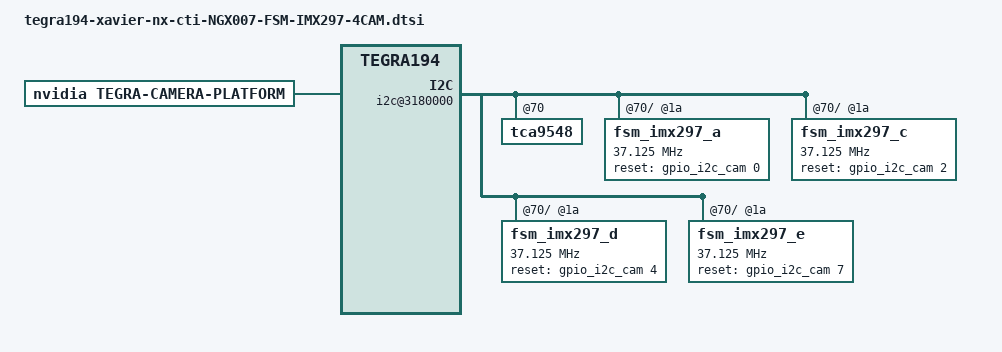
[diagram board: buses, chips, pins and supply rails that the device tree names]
/*
 * tegra194-camera-imx297.dtsi - imx297 sensor device tree
 *
 * Copyright (c) 2019. FRAMOS.  All rights reserved.
 *
 * This program is free software; you can redistribute it and/or modify
 * it under the terms of the GNU General Public License as published by
 * the Free Software Foundation; either version 2 of the License, or
 * (at your option) any later version.
 *
 * This program is distributed in the hope that it will be useful, but WITHOUT
 * ANY WARRANTY; without even the implied warranty of MERCHANTABILITY or
 * FITNESS FOR A PARTICULAR PURPOSE.  See the GNU General Public License for
 * more details.
 *
 * You should have received a copy of the GNU General Public License
 * along with this program.  If not, see <http://www.gnu.org/licenses/>.
 */

/* camera control gpio definitions */
#include "tegra194-cti-camera-fsm-imx297-4cam-1mux-1sensor-header.dtsi"
#include "tegra194-cti-fsm-imx297-modes-header.dtsi"
#include "tegra194-cti-camera-4cam-1mux-1sensor-base.dtsi"
#include "tegra194-xavier-nx-cti-NGX007-FSM-4CAM-base.dtsi"


/* camera control gpio definitions */
/ {
	tegra-camera-platform {
		compatible = "nvidia, tegra-camera-platform";

		/**
		* Physical settings to calculate max ISO BW
		*
		* num_csi_lanes = <>;
		* Total number of CSI lanes when all cameras are active
		*
		* max_lane_speed = <>;
		* Max lane speed in Kbit/s
		*
		* min_bits_per_pixel = <>;
		* Min bits per pixel
		*
		* vi_peak_byte_per_pixel = <>;
		* Max byte per pixel for the VI ISO case
		*
		* vi_bw_margin_pct = <>;
		* Vi bandwidth margin in percentage
		*
		* max_pixel_rate = <>;
		* Max pixel rate in Kpixel/s for the ISP ISO case
		*
		* isp_peak_byte_per_pixel = <>;
		* Max byte per pixel for the ISP ISO case
		*
		* isp_bw_margin_pct = <>;
		* Isp bandwidth margin in percentage
		*/
		TEGRA_CAM_PLAT_DATA

	};
};

/{
	i2c@3180000 {
		tca9548@70 {
			i2c@0 {
				fsm_imx297_a@1a {
					devnode = "video0";

					/* Define any required hw resources needed by driver */
				    /* ie. clocks, io pins, power sources */
                    clocks = <&bpmp_clks TEGRA194_CLK_EXTPERIPH1>,
						<&bpmp_clks TEGRA194_CLK_EXTPERIPH1>;
                    clock-names = "extperiph1", "pllp_grtba";
                    mclk = "extperiph1";
                    clock-frequency = <37125000>;
                    reset-gpios = <&gpio_i2c_cam 0 GPIO_ACTIVE_HIGH>;

				    CAM_DATA
					/delete-node/ mode2;
					/delete-node/ mode3;
					/delete-node/ mode4;
				};
			};
            
			i2c@1 {
				fsm_imx297_c@1a {
					devnode = "video2";

					/* Define any required hw resources needed by driver */
				    /* ie. clocks, io pins, power sources */
                    clocks = <&bpmp_clks TEGRA194_CLK_EXTPERIPH1>,
						<&bpmp_clks TEGRA194_CLK_EXTPERIPH1>;
                    clock-names = "extperiph1", "pllp_grtba";
                    mclk = "extperiph1";
                    clock-frequency = <37125000>;
                    reset-gpios = <&gpio_i2c_cam 2 GPIO_ACTIVE_HIGH>;

				    CAM_DATA
					/delete-node/ mode2;
					/delete-node/ mode3;
					/delete-node/ mode4;
				};
			};
			
			i2c@2 {
				fsm_imx297_d@1a {
					devnode = "video3";

					/* Define any required hw resources needed by driver */
				    /* ie. clocks, io pins, power sources */
                    clocks = <&bpmp_clks TEGRA194_CLK_EXTPERIPH1>,
						<&bpmp_clks TEGRA194_CLK_EXTPERIPH1>;
                    clock-names = "extperiph1", "pllp_grtba";
                    mclk = "extperiph1";
                    clock-frequency = <37125000>;
                    reset-gpios = <&gpio_i2c_cam 4 GPIO_ACTIVE_HIGH>;

				    CAM_DATA
					/delete-node/ mode2;
					/delete-node/ mode3;
					/delete-node/ mode4;
				};
			};
            
            i2c@3 {
				fsm_imx297_e@1a {
					devnode = "video4";
					
					/* Define any required hw resources needed by driver */
				    /* ie. clocks, io pins, power sources */
                    clocks = <&bpmp_clks TEGRA194_CLK_EXTPERIPH1>,
						<&bpmp_clks TEGRA194_CLK_EXTPERIPH1>;
                    clock-names = "extperiph1", "pllp_grtba";
                    mclk = "extperiph1";
                    clock-frequency = <37125000>;
                    reset-gpios = <&gpio_i2c_cam 7 GPIO_ACTIVE_HIGH>;

				    CAM_DATA
					/delete-node/ mode2;
					/delete-node/ mode3;
					/delete-node/ mode4;
                };
            };
		};
	};
};
